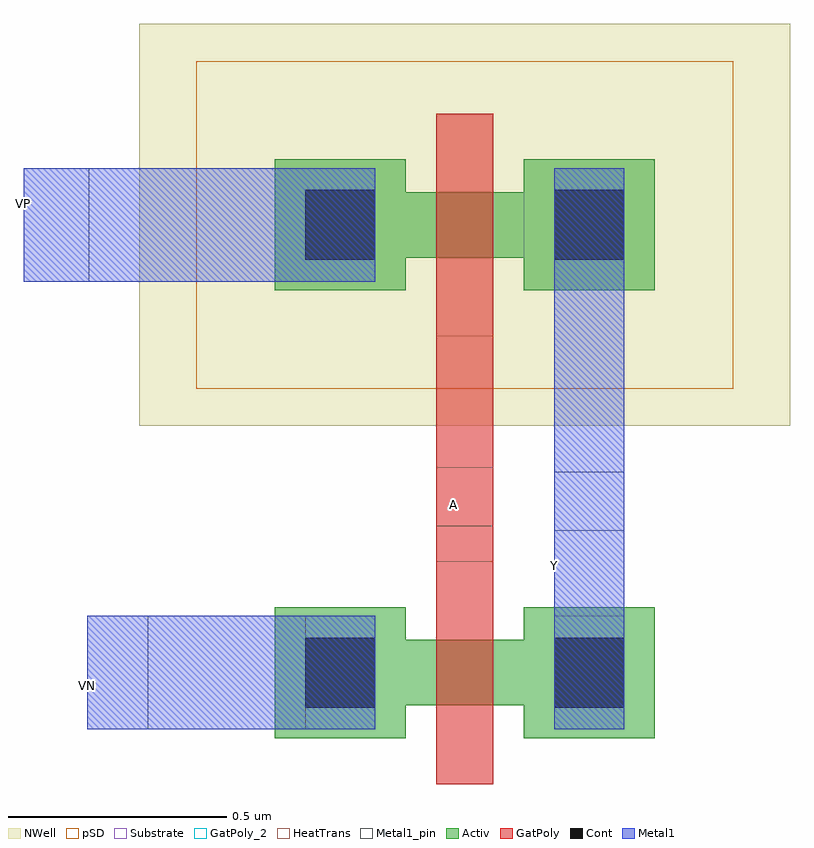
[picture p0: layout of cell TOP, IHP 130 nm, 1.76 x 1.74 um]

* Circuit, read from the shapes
.subckt TOP A VN VP Y
XM1 Y A VN VSUBS sg13_lv_nmos w=0.15u l=0.13u
XM2 Y A VP n1 sg13_lv_pmos w=0.15u l=0.13u
.ends

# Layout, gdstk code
import gdstk
lib = gdstk.Library(unit=1e-6, precision=5e-09)
def R(c, l, rs):  # rectangles x0, y0, x1, y1
    for r in rs: c.add(gdstk.rectangle(r[:2], r[2:], *l))
Activ = (1, 0)
GatPoly = (5, 0)
GatPoly_2 = (5, 2)
Cont = (6, 0)
Metal1 = (8, 0)
Metal1_pin = (8, 2)
pSD = (14, 0)
NWell = (31, 0)
Substrate = (40, 0)
HeatTrans = (51, 0)

nmos = lib.new_cell('nmos')
R(nmos, Activ, [(0,0,0.3,0.3), (0.57,0,0.87,0.3), (0,0.075,0.87,0.225)])
R(nmos, GatPoly, [(0.37,-0.105,0.5,0.405)])
R(nmos, GatPoly_2, [(0.37,-0.105,0.5,0.405)])
R(nmos, Cont, [(0.07,0.07,0.23,0.23), (0.64,0.07,0.8,0.23)])
R(nmos, Metal1, [(0.07,0.02,0.23,0.28), (0.64,0.02,0.8,0.28)])
R(nmos, Metal1_pin, [(0.07,0.02,0.23,0.28), (0.64,0.02,0.8,0.28)])
R(nmos, HeatTrans, [(0.37,-0.105,0.5,0.405)])
nmos.add(gdstk.Label('nmos', (0.435,0.15), layer=63, texttype=0))
nmos.add(gdstk.Label('nmos', (0.435,0.15), layer=51, texttype=0))

pmos = lib.new_cell('pmos')
R(pmos, Activ, [(0,0,0.3,0.3), (0.57,0,0.87,0.3), (0,0.075,0.87,0.225)])
R(pmos, GatPoly, [(0.37,-0.105,0.5,0.405), (0.37,-0.105,0.5,0.405)])
R(pmos, Cont, [(0.07,0.07,0.23,0.23), (0.64,0.07,0.8,0.23)])
R(pmos, Metal1, [(0.07,0.02,0.23,0.28), (0.07,0.02,0.23,0.28), (0.64,0.02,0.8,0.28), (0.64,0.02,0.8,0.28)])
R(pmos, pSD, [(-0.18,-0.225,1.05,0.525)])
R(pmos, NWell, [(-0.31,-0.31,1.18,0.61)])
R(pmos, Substrate, [(0.57,0,0.87,0.3)])
R(pmos, HeatTrans, [(0.37,-0.105,0.5,0.405)])
pmos.add(gdstk.Label('pmos', (0.435,0.15), layer=63, texttype=0))
pmos.add(gdstk.Label('pmos', (0.435,0.15), layer=51, texttype=0))

top = lib.new_cell('TOP')
R(top, GatPoly, [(0.245,0.64,0.375,1.275)])
R(top, GatPoly_2, [(0.245,0.79,0.375,0.925)])
R(top, Metal1, [(-0.555,0.325,-0.055,0.585), (0.515,0.53,0.675,1.395), (-0.7,1.35,-0.055,1.61)])
R(top, Metal1_pin, [(-0.555,0.325,-0.415,0.585), (0.515,0.78,0.675,0.915), (-0.7,1.35,-0.55,1.61)])
top.add(gdstk.Reference(nmos, (-0.125,0.305)))
top.add(gdstk.Reference(pmos, (-0.125,1.33)))
top.add(gdstk.Label('VP', (-0.7,1.53), layer=8, texttype=2))
top.add(gdstk.Label('VN', (-0.555,0.425), layer=8, texttype=2))
top.add(gdstk.Label('Y', (0.515,0.7), layer=8, texttype=2))
top.add(gdstk.Label('A', (0.285,0.84), layer=5, texttype=2))

lib.write_gds('TOP.gds')
